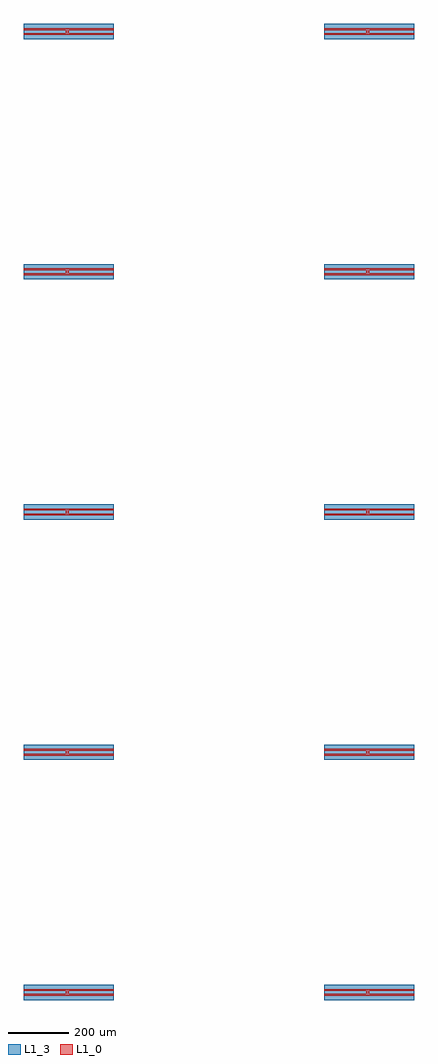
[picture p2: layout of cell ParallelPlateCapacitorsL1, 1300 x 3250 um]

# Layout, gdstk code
import gdstk
lib = gdstk.Library(unit=1e-6, precision=1e-09)
def R(c, l, rs):  # rectangles x0, y0, x1, y1
    for r in rs: c.add(gdstk.rectangle(r[:2], r[2:], *l))
def P(c, l, *ps):  # polygons
    for p in ps: c.add(gdstk.Polygon(p, *l))
L1_0 = (1, 0)
L1_3 = (1, 3)

c_5ffppcl1 = lib.new_cell('5fFPPCL1')
P(c_5ffppcl1, L1_0, [(-150,-11),(-150,-5),(-10,-5),(-10,5),(-150,5),(-150,11),(150,11),(150,5),(0,5),(0,-5),(150,-5),(150,-11)])
R(c_5ffppcl1, L1_3, [(-150,-25,150,25), (-110,-20,-90,20), (90,-20,110,20)])

c_10ffppcl1 = lib.new_cell('10fFPPCL1')
P(c_10ffppcl1, L1_0, [(-150,-11),(-150,-5),(-10,-5),(-10,5),(-150,5),(-150,11),(150,11),(150,5),(0,5),(0,-5),(150,-5),(150,-11)])
R(c_10ffppcl1, L1_3, [(-150,-25,150,25), (-110,-20,-90,20), (90,-20,110,20)])

c_15ffppcl1 = lib.new_cell('15fFPPCL1')
P(c_15ffppcl1, L1_0, [(-150,-11),(-150,-5),(-10,-5),(-10,5),(-150,5),(-150,11),(150,11),(150,5),(0,5),(0,-5),(150,-5),(150,-11)])
R(c_15ffppcl1, L1_3, [(-150,-25,150,25), (-110,-20,-90,20), (90,-20,110,20)])

c_20ffppcl1 = lib.new_cell('20fFPPCL1')
P(c_20ffppcl1, L1_0, [(-150,-11),(-150,-5),(-10,-5),(-10,5),(-150,5),(-150,11),(150,11),(150,5),(0,5),(0,-5),(150,-5),(150,-11)])
R(c_20ffppcl1, L1_3, [(-150,-25,150,25), (-110,-20,-90,20), (90,-20,110,20)])

c_25ffppcl1 = lib.new_cell('25fFPPCL1')
P(c_25ffppcl1, L1_0, [(-150,-11),(-150,-5),(-10,-5),(-10,5),(-150,5),(-150,11),(150,11),(150,5),(0,5),(0,-5),(150,-5),(150,-11)])
R(c_25ffppcl1, L1_3, [(-150,-25,150,25), (-110,-20,-90,20), (90,-20,110,20)])

c_30ffppcl1 = lib.new_cell('30fFPPCL1')
P(c_30ffppcl1, L1_0, [(-150,-11),(-150,-5),(-10,-5),(-10,5),(-150,5),(-150,11),(150,11),(150,5),(0,5),(0,-5),(150,-5),(150,-11)])
R(c_30ffppcl1, L1_3, [(-150,-25,150,25), (-110,-20,-90,20), (90,-20,110,20)])

c_35ffppcl1 = lib.new_cell('35fFPPCL1')
P(c_35ffppcl1, L1_0, [(-150,-11),(-150,-5),(-10,-5),(-10,5),(-150,5),(-150,11),(150,11),(150,5),(0,5),(0,-5),(150,-5),(150,-11)])
R(c_35ffppcl1, L1_3, [(-150,-25,150,25)])

c_2ffppcl1 = lib.new_cell('2fFPPCL1')
P(c_2ffppcl1, L1_0, [(-150,-11),(-150,-5),(-10,-5),(-10,5),(-150,5),(-150,11),(150,11),(150,5),(0,5),(0,-5),(150,-5),(150,-11)])
R(c_2ffppcl1, L1_3, [(-150,-25,150,25), (-110,-20,-90,20), (90,-20,110,20)])

c_45ffppcl1 = lib.new_cell('45fFPPCL1')
P(c_45ffppcl1, L1_0, [(-150,-11),(-150,-5),(-10,-5),(-10,5),(-150,5),(-150,11),(150,11),(150,5),(0,5),(0,-5),(150,-5),(150,-11)])
R(c_45ffppcl1, L1_3, [(-150,-25,150,25)])

c_55ffppcl1 = lib.new_cell('55fFPPCL1')
P(c_55ffppcl1, L1_0, [(-150,-11),(-150,-5),(-10,-5),(-10,5),(-150,5),(-150,11),(150,11),(150,5),(0,5),(0,-5),(150,-5),(150,-11)])
R(c_55ffppcl1, L1_3, [(-150,-25,150,25)])

parallelplatecapacitorsl = lib.new_cell('ParallelPlateCapacitorsL1')
parallelplatecapacitorsl.add(gdstk.Reference(c_5ffppcl1, (-500,0)))
parallelplatecapacitorsl.add(gdstk.Reference(c_10ffppcl1, (-500,-800)))
parallelplatecapacitorsl.add(gdstk.Reference(c_15ffppcl1, (-500,-1600)))
parallelplatecapacitorsl.add(gdstk.Reference(c_20ffppcl1, (500,800)))
parallelplatecapacitorsl.add(gdstk.Reference(c_25ffppcl1, (500,0)))
parallelplatecapacitorsl.add(gdstk.Reference(c_30ffppcl1, (500,-800)))
parallelplatecapacitorsl.add(gdstk.Reference(c_35ffppcl1, (500,-1600)))
parallelplatecapacitorsl.add(gdstk.Reference(c_2ffppcl1, (-500,800)))
parallelplatecapacitorsl.add(gdstk.Reference(c_45ffppcl1, (-500,1600)))
parallelplatecapacitorsl.add(gdstk.Reference(c_55ffppcl1, (500,1600)))

lib.write_gds('ParallelPlateCapacitorsL1.gds')
